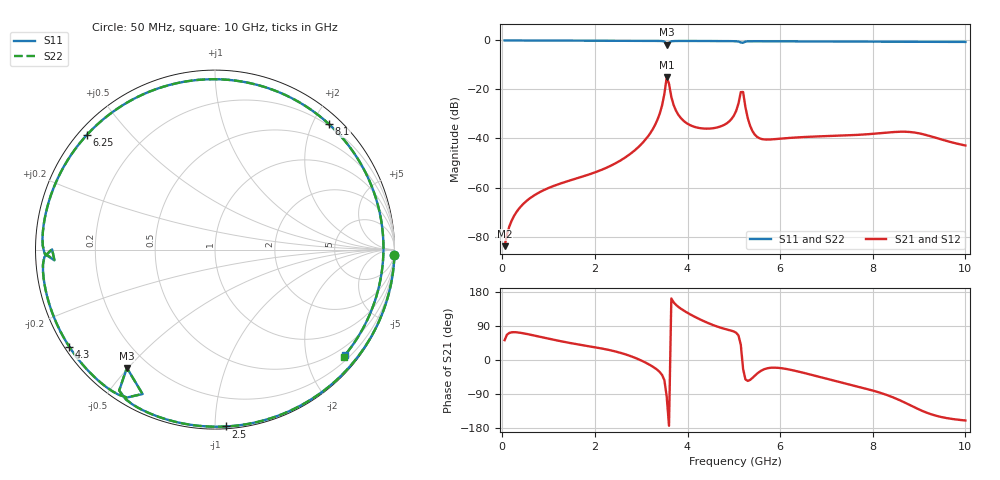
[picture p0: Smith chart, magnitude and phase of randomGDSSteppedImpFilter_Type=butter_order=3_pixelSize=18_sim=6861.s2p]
! freq	dB(S11)	phase(S11)	dB(S12)	phase(S12)
!  dB(S21)	phase(S21)	dB(S22)	phase(S22)
!S-par simulation data
#  GHz  S  DB  R 50
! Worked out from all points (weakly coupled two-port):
!   200 points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, 50 MHz to 10 GHz, reference 50 ohm
!   highest |S21| = -15.05 dB at 3.55 GHz (marker M1); lowest = -83.9 dB at 50 MHz (marker M2)
!   lowest |S11| = -1.7 dB at 3.55 GHz (marker M3), VSWR 10.23, Z = 6.11 - j24.8 ohm
!   |S11| at or under -10 dB: nowhere
!   |S22| runs from -1.7 to 0.0 dB; largest |S21 - S12| = 0
!   S11 on the Smith chart (normalised r, x): 50 MHz: 0, -65; 2.5 GHz: 0.01, -1.07; 4.3 GHz: 0.01, -0.30; 6.25 GHz: 0.02, +0.38; 8.1 GHz: 0.17, +2.25; 10 GHz: 0.31, -2.78
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0.05  -0.00 -1.8  -83.94 52.3  -83.94 52.3  -0.00 -1.8
0.3  -0.01 -10.6  -70.19 73.2  -70.19 73.2  -0.01 -10.6
0.6  -0.02 -21.2  -64.35 66.9  -64.35 66.9  -0.02 -21.2
1.75  -0.08 -61.0  -55.43 38.7  -55.43 38.7  -0.08 -61.0
2.5  -0.11 -86.4  -49.55 20.7  -49.55 20.7  -0.11 -86.4
3.05  -0.14 -105.1  -41.35 -4.2  -41.35 -4.2  -0.14 -105.1
3.4  -0.20 -118.2  -29.85 -31.8  -29.85 -31.8  -0.20 -118.3
3.55  -1.70 -126.7  -15.05 -96.1  -15.05 -96.1  -1.70 -126.7
3.8  -0.21 -128.1  -30.28 140.4  -30.28 140.4  -0.21 -128.1
4.3  -0.21 -146.3  -35.86 105.3  -35.86 105.3  -0.22 -146.4
4.8  -0.26 -164.6  -34.36 82.1  -34.36 82.1  -0.26 -164.8
5.05  -0.33 -174.9  -28.74 72.0  -28.74 72.0  -0.33 -175.0
5.2  -0.95 -176.2  -21.03 -23.9  -21.03 -23.9  -0.95 -176.4
5.35  -0.33 176.4  -34.76 -52.6  -34.76 -52.6  -0.33 176.2
5.5  -0.31 170.0  -39.32 -36.2  -39.32 -36.2  -0.32 169.7
6.25  -0.37 138.1  -39.70 -26.5  -39.70 -26.5  -0.37 137.8
6.7  -0.41 117.5  -39.24 -39.9  -39.24 -39.9  -0.41 117.1
7.4  -0.46 83.3  -38.77 -61.6  -38.77 -61.6  -0.46 82.7
8.1  -0.50 47.6  -37.94 -84.2  -37.94 -84.2  -0.50 47.0
8.35  -0.51 35.0  -37.52 -94.4  -37.52 -94.4  -0.51 34.3
9.1  -0.55 -1.2  -38.33 -135.9  -38.33 -135.9  -0.55 -1.9
10  -0.60 -39.2  -42.85 -159.6  -42.85 -159.6  -0.60 -39.8
